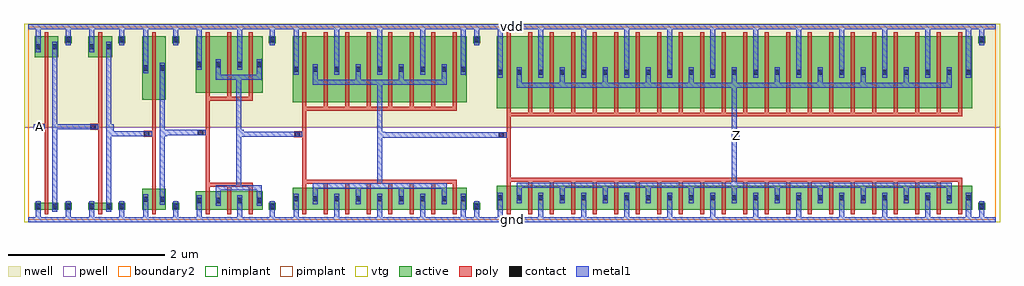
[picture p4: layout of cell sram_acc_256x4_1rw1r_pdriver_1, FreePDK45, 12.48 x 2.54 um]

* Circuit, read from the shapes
.subckt sram_acc_256x4_1rw1r_pdriver_1 A Z gnd vdd
M1 sram_acc_256x4_1rw1r_pinv_1_1/A A gnd gnd nfet w=0.09u l=0.05u
M2 sram_acc_256x4_1rw1r_pinv_8_2/A sram_acc_256x4_1rw1r_pinv_1_1/A gnd gnd nfet w=0.09u l=0.05u
M3 sram_acc_256x4_1rw1r_pinv_9_3/A sram_acc_256x4_1rw1r_pinv_8_2/A gnd gnd nfet w=0.27u l=0.05u
M4 sram_acc_256x4_1rw1r_pinv_10_4/A sram_acc_256x4_1rw1r_pinv_9_3/A gnd gnd nfet w=0.24u l=0.05u m=3
M5 sram_acc_256x4_1rw1r_pinv_11_5/A sram_acc_256x4_1rw1r_pinv_10_4/A gnd gnd nfet w=0.28u l=0.05u m=8
M6 Z sram_acc_256x4_1rw1r_pinv_11_5/A gnd gnd nfet w=0.3075u l=0.05u m=22
M7 sram_acc_256x4_1rw1r_pinv_1_1/A A vdd vdd pfet w=0.27u l=0.05u
M8 sram_acc_256x4_1rw1r_pinv_8_2/A sram_acc_256x4_1rw1r_pinv_1_1/A vdd vdd pfet w=0.27u l=0.05u
M9 sram_acc_256x4_1rw1r_pinv_9_3/A sram_acc_256x4_1rw1r_pinv_8_2/A vdd vdd pfet w=0.81u l=0.05u
M10 sram_acc_256x4_1rw1r_pinv_10_4/A sram_acc_256x4_1rw1r_pinv_9_3/A vdd vdd pfet w=0.72u l=0.05u m=3
M11 sram_acc_256x4_1rw1r_pinv_11_5/A sram_acc_256x4_1rw1r_pinv_10_4/A vdd vdd pfet w=0.845u l=0.05u m=8
M12 Z sram_acc_256x4_1rw1r_pinv_11_5/A vdd vdd pfet w=0.92u l=0.05u m=22
.ends

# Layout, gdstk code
import gdstk
lib = gdstk.Library(unit=1e-6, precision=5e-10)
def R(c, l, rs):  # rectangles x0, y0, x1, y1
    for r in rs: c.add(gdstk.rectangle(r[:2], r[2:], *l))
def A(c, l, x, y, w, h, nx, ny, dx, dy):  # array of equal rectangles
    R(c, l, [(x+i*dx, y+j*dy, x+i*dx+w, y+j*dy+h) for i in range(nx) for j in range(ny)])
active = (1, 0)
pwell = (2, 0)
nwell = (3, 0)
nimplant = (4, 0)
pimplant = (5, 0)
vtg = (6, 0)
poly = (9, 0)
contact = (10, 0)
metal1 = (11, 0)
boundary2 = (239, 0)

sram_acc_256x4_1rw1r_con = lib.new_cell('sram_acc_256x4_1rw1r_contact_11')
R(sram_acc_256x4_1rw1r_con, active, [(0,0.0225,0.09,0.1125)])
R(sram_acc_256x4_1rw1r_con, nwell, [(-0.055,-0.0325,0.145,0.1675)])
R(sram_acc_256x4_1rw1r_con, pimplant, [(0,0.0225,0.09,0.1125)])
R(sram_acc_256x4_1rw1r_con, contact, [(0.0125,0.035,0.0775,0.1)])
R(sram_acc_256x4_1rw1r_con, metal1, [(0.0125,0,0.0775,0.135)])
R(sram_acc_256x4_1rw1r_con, boundary2, [(-0.055,-0.0325,0.145,0.1675)])

sram_acc_256x4_1rw1r_pmo = lib.new_cell('sram_acc_256x4_1rw1r_pmos_m1_w0_270_sm1_dm1_da_p')
R(sram_acc_256x4_1rw1r_pmo, active, [(0,0,0.305,0.27)])
R(sram_acc_256x4_1rw1r_pmo, nwell, [(-0.08,-0.08,0.385,0.35)])
R(sram_acc_256x4_1rw1r_pmo, pimplant, [(0,0,0.305,0.27)])
R(sram_acc_256x4_1rw1r_pmo, vtg, [(-0.08,-0.08,0.385,0.35)])
R(sram_acc_256x4_1rw1r_pmo, poly, [(0.1275,-0.055,0.1775,0.325), (0.1275,-0.055,0.1775,0.325)])
R(sram_acc_256x4_1rw1r_pmo, metal1, [(0.0125,0.0675,0.0775,0.2025), (0.2275,0.0675,0.2925,0.2025)])
R(sram_acc_256x4_1rw1r_pmo, boundary2, [(-0.08,-0.08,0.385,0.35)])
sram_acc_256x4_1rw1r_pmo.add(gdstk.Reference(sram_acc_256x4_1rw1r_con, (0,0.0675)))
sram_acc_256x4_1rw1r_pmo.add(gdstk.Reference(sram_acc_256x4_1rw1r_con, (0.215,0.0675)))
sram_acc_256x4_1rw1r_pmo.add(gdstk.Label('G', (0.1525,0.135), layer=9, texttype=0))
sram_acc_256x4_1rw1r_pmo.add(gdstk.Label('S', (0.045,0.135), layer=11, texttype=0))
sram_acc_256x4_1rw1r_pmo.add(gdstk.Label('D', (0.26,0.135), layer=11, texttype=0))

c_sram_acc_256x4_1rw1r_con = lib.new_cell('sram_acc_256x4_1rw1r_contact_10')
R(c_sram_acc_256x4_1rw1r_con, active, [(0,0.0225,0.09,0.1125)])
R(c_sram_acc_256x4_1rw1r_con, pwell, [(-0.055,-0.0325,0.145,0.1675)])
R(c_sram_acc_256x4_1rw1r_con, nimplant, [(0,0.0225,0.09,0.1125)])
R(c_sram_acc_256x4_1rw1r_con, contact, [(0.0125,0.035,0.0775,0.1)])
R(c_sram_acc_256x4_1rw1r_con, metal1, [(0.0125,0,0.0775,0.135)])
R(c_sram_acc_256x4_1rw1r_con, boundary2, [(-0.055,-0.0325,0.145,0.1675)])

sram_acc_256x4_1rw1r_nmo = lib.new_cell('sram_acc_256x4_1rw1r_nmos_m1_w0_090_sm1_dm1_da_p')
R(sram_acc_256x4_1rw1r_nmo, active, [(0,0,0.305,0.09)])
R(sram_acc_256x4_1rw1r_nmo, pwell, [(-0.08,-0.08,0.385,0.17)])
R(sram_acc_256x4_1rw1r_nmo, nimplant, [(0,0,0.305,0.09)])
R(sram_acc_256x4_1rw1r_nmo, vtg, [(-0.08,-0.08,0.385,0.17)])
R(sram_acc_256x4_1rw1r_nmo, poly, [(0.1275,-0.055,0.1775,0.145), (0.1275,-0.055,0.1775,0.145)])
R(sram_acc_256x4_1rw1r_nmo, metal1, [(0.0125,-0.0225,0.0775,0.1125), (0.2275,-0.0225,0.2925,0.1125)])
R(sram_acc_256x4_1rw1r_nmo, boundary2, [(-0.08,-0.08,0.385,0.17)])
sram_acc_256x4_1rw1r_nmo.add(gdstk.Reference(c_sram_acc_256x4_1rw1r_con, (0,-0.0225)))
sram_acc_256x4_1rw1r_nmo.add(gdstk.Reference(c_sram_acc_256x4_1rw1r_con, (0.215,-0.0225)))
sram_acc_256x4_1rw1r_nmo.add(gdstk.Label('G', (0.1525,0.045), layer=9, texttype=0))
sram_acc_256x4_1rw1r_nmo.add(gdstk.Label('S', (0.045,0.045), layer=11, texttype=0))
sram_acc_256x4_1rw1r_nmo.add(gdstk.Label('D', (0.26,0.045), layer=11, texttype=0))

c_sram_acc_256x4_1rw1r_con_ = lib.new_cell('sram_acc_256x4_1rw1r_contact_12')
R(c_sram_acc_256x4_1rw1r_con_, active, [(0,0.0225,0.09,0.1125)])
R(c_sram_acc_256x4_1rw1r_con_, nwell, [(-0.055,-0.0325,0.145,0.1675)])
R(c_sram_acc_256x4_1rw1r_con_, nimplant, [(0,0.0225,0.09,0.1125)])
R(c_sram_acc_256x4_1rw1r_con_, contact, [(0.0125,0.035,0.0775,0.1)])
R(c_sram_acc_256x4_1rw1r_con_, metal1, [(0.0125,0,0.0775,0.135)])
R(c_sram_acc_256x4_1rw1r_con_, boundary2, [(-0.055,-0.0325,0.145,0.1675)])

c_sram_acc_256x4_1rw1r_con__ = lib.new_cell('sram_acc_256x4_1rw1r_contact_13')
R(c_sram_acc_256x4_1rw1r_con__, active, [(0,0.0225,0.09,0.1125)])
R(c_sram_acc_256x4_1rw1r_con__, pwell, [(-0.055,-0.0325,0.145,0.1675)])
R(c_sram_acc_256x4_1rw1r_con__, pimplant, [(0,0.0225,0.09,0.1125)])
R(c_sram_acc_256x4_1rw1r_con__, contact, [(0.0125,0.035,0.0775,0.1)])
R(c_sram_acc_256x4_1rw1r_con__, metal1, [(0.0125,0,0.0775,0.135)])
R(c_sram_acc_256x4_1rw1r_con__, boundary2, [(-0.055,-0.0325,0.145,0.1675)])

c_sram_acc_256x4_1rw1r_con___ = lib.new_cell('sram_acc_256x4_1rw1r_contact_14')
R(c_sram_acc_256x4_1rw1r_con___, poly, [(0.03,0,0.105,0.075)])
R(c_sram_acc_256x4_1rw1r_con___, contact, [(0.035,0.005,0.1,0.07)])
R(c_sram_acc_256x4_1rw1r_con___, metal1, [(0,0.005,0.135,0.07)])
R(c_sram_acc_256x4_1rw1r_con___, boundary2, [(0,0,0.135,0.075)])

sram_acc_256x4_1rw1r_pin = lib.new_cell('sram_acc_256x4_1rw1r_pinv_1')
R(sram_acc_256x4_1rw1r_pin, pwell, [(-0.055,-0.0325,0.7425,1.185)])
R(sram_acc_256x4_1rw1r_pin, nwell, [(-0.055,1.185,0.7425,2.505)])
R(sram_acc_256x4_1rw1r_pin, vtg, [(-0.055,-0.0325,0.7425,1.185), (-0.055,1.185,0.7425,2.505)])
R(sram_acc_256x4_1rw1r_pin, poly, [(0.2075,0.27,0.2575,2.02), (0.14,1.1525,0.2075,1.2275)])
R(sram_acc_256x4_1rw1r_pin, metal1, [(0,-0.0325,0.6875,0.0325), (0.0925,-0.0325,0.1575,0.1025), (0.4775,0,0.5425,0.17), (0.3075,0.1025,0.3725,2.2775), (0.0725,1.1575,0.2075,1.2225), (0.34,1.1575,0.405,1.2225), (0.0925,2.1425,0.1575,2.5025), (0.4775,2.3,0.5425,2.47), (0,2.4375,0.6875,2.5025)])
R(sram_acc_256x4_1rw1r_pin, boundary2, [(0,0,0.6875,2.47), (0,0,0.6875,2.47)])
sram_acc_256x4_1rw1r_pin.add(gdstk.Reference(sram_acc_256x4_1rw1r_pmo, (0.08,2.075)))
sram_acc_256x4_1rw1r_pin.add(gdstk.Reference(sram_acc_256x4_1rw1r_nmo, (0.08,0.125)))
sram_acc_256x4_1rw1r_pin.add(gdstk.Reference(c_sram_acc_256x4_1rw1r_con_, (0.465,2.2325)))
sram_acc_256x4_1rw1r_pin.add(gdstk.Reference(c_sram_acc_256x4_1rw1r_con__, (0.465,0.1025)))
sram_acc_256x4_1rw1r_pin.add(gdstk.Reference(c_sram_acc_256x4_1rw1r_con___, (0.0725,1.1525)))
sram_acc_256x4_1rw1r_pin.add(gdstk.Label('A', (0.14,1.19), layer=11, texttype=0))
sram_acc_256x4_1rw1r_pin.add(gdstk.Label('Z', (0.3725,1.19), layer=11, texttype=0))
sram_acc_256x4_1rw1r_pin.add(gdstk.Label('gnd', (0.344,0), layer=11, texttype=0))
sram_acc_256x4_1rw1r_pin.add(gdstk.Label('vdd', (0.344,2.47), layer=11, texttype=0))

c_sram_acc_256x4_1rw1r_pmo = lib.new_cell('sram_acc_256x4_1rw1r_pmos_m1_w0_810_sm1_dm1_da_p')
R(c_sram_acc_256x4_1rw1r_pmo, active, [(0,0,0.305,0.81)])
R(c_sram_acc_256x4_1rw1r_pmo, nwell, [(-0.08,-0.08,0.385,0.89)])
R(c_sram_acc_256x4_1rw1r_pmo, pimplant, [(0,0,0.305,0.81)])
R(c_sram_acc_256x4_1rw1r_pmo, vtg, [(-0.08,-0.08,0.385,0.89)])
R(c_sram_acc_256x4_1rw1r_pmo, poly, [(0.1275,-0.055,0.1775,0.865), (0.1275,-0.055,0.1775,0.865)])
R(c_sram_acc_256x4_1rw1r_pmo, metal1, [(0.0125,0.3375,0.0775,0.4725), (0.2275,0.3375,0.2925,0.4725)])
R(c_sram_acc_256x4_1rw1r_pmo, boundary2, [(-0.08,-0.08,0.385,0.89)])
c_sram_acc_256x4_1rw1r_pmo.add(gdstk.Reference(sram_acc_256x4_1rw1r_con, (0,0.3375)))
c_sram_acc_256x4_1rw1r_pmo.add(gdstk.Reference(sram_acc_256x4_1rw1r_con, (0.215,0.3375)))
c_sram_acc_256x4_1rw1r_pmo.add(gdstk.Label('G', (0.1525,0.405), layer=9, texttype=0))
c_sram_acc_256x4_1rw1r_pmo.add(gdstk.Label('S', (0.045,0.405), layer=11, texttype=0))
c_sram_acc_256x4_1rw1r_pmo.add(gdstk.Label('D', (0.26,0.405), layer=11, texttype=0))

c_sram_acc_256x4_1rw1r_nmo = lib.new_cell('sram_acc_256x4_1rw1r_nmos_m1_w0_270_sm1_dm1_da_p')
R(c_sram_acc_256x4_1rw1r_nmo, active, [(0,0,0.305,0.27)])
R(c_sram_acc_256x4_1rw1r_nmo, pwell, [(-0.08,-0.08,0.385,0.35)])
R(c_sram_acc_256x4_1rw1r_nmo, nimplant, [(0,0,0.305,0.27)])
R(c_sram_acc_256x4_1rw1r_nmo, vtg, [(-0.08,-0.08,0.385,0.35)])
R(c_sram_acc_256x4_1rw1r_nmo, poly, [(0.1275,-0.055,0.1775,0.325), (0.1275,-0.055,0.1775,0.325)])
R(c_sram_acc_256x4_1rw1r_nmo, metal1, [(0.0125,0.0675,0.0775,0.2025), (0.2275,0.0675,0.2925,0.2025)])
R(c_sram_acc_256x4_1rw1r_nmo, boundary2, [(-0.08,-0.08,0.385,0.35)])
c_sram_acc_256x4_1rw1r_nmo.add(gdstk.Reference(c_sram_acc_256x4_1rw1r_con, (0,0.0675)))
c_sram_acc_256x4_1rw1r_nmo.add(gdstk.Reference(c_sram_acc_256x4_1rw1r_con, (0.215,0.0675)))
c_sram_acc_256x4_1rw1r_nmo.add(gdstk.Label('G', (0.1525,0.135), layer=9, texttype=0))
c_sram_acc_256x4_1rw1r_nmo.add(gdstk.Label('S', (0.045,0.135), layer=11, texttype=0))
c_sram_acc_256x4_1rw1r_nmo.add(gdstk.Label('D', (0.26,0.135), layer=11, texttype=0))

c_sram_acc_256x4_1rw1r_pin = lib.new_cell('sram_acc_256x4_1rw1r_pinv_8')
R(c_sram_acc_256x4_1rw1r_pin, pwell, [(-0.055,-0.0325,0.7425,1.185)])
R(c_sram_acc_256x4_1rw1r_pin, nwell, [(-0.055,1.185,0.7425,2.505)])
R(c_sram_acc_256x4_1rw1r_pin, vtg, [(-0.055,-0.0325,0.7425,1.185), (-0.055,1.185,0.7425,2.505)])
R(c_sram_acc_256x4_1rw1r_pin, poly, [(0.2075,0.45,0.2575,1.48), (0.14,1.0625,0.2075,1.1375)])
R(c_sram_acc_256x4_1rw1r_pin, metal1, [(0,-0.0325,0.6875,0.0325), (0.0925,-0.0325,0.1575,0.1925), (0.4775,0,0.5425,0.17), (0.3075,0.1925,0.3725,2.0075), (0.0725,1.0675,0.2075,1.1325), (0.34,1.0675,0.405,1.1325), (0.0925,1.8725,0.1575,2.5025), (0.4775,2.3,0.5425,2.47), (0,2.4375,0.6875,2.5025)])
R(c_sram_acc_256x4_1rw1r_pin, boundary2, [(0,0,0.6875,2.47), (0,0,0.6875,2.47)])
c_sram_acc_256x4_1rw1r_pin.add(gdstk.Reference(c_sram_acc_256x4_1rw1r_pmo, (0.08,1.535)))
c_sram_acc_256x4_1rw1r_pin.add(gdstk.Reference(c_sram_acc_256x4_1rw1r_nmo, (0.08,0.125)))
c_sram_acc_256x4_1rw1r_pin.add(gdstk.Reference(c_sram_acc_256x4_1rw1r_con_, (0.465,2.2325)))
c_sram_acc_256x4_1rw1r_pin.add(gdstk.Reference(c_sram_acc_256x4_1rw1r_con__, (0.465,0.1025)))
c_sram_acc_256x4_1rw1r_pin.add(gdstk.Reference(c_sram_acc_256x4_1rw1r_con___, (0.0725,1.0625)))
c_sram_acc_256x4_1rw1r_pin.add(gdstk.Label('A', (0.14,1.1), layer=11, texttype=0))
c_sram_acc_256x4_1rw1r_pin.add(gdstk.Label('Z', (0.3725,1.1), layer=11, texttype=0))
c_sram_acc_256x4_1rw1r_pin.add(gdstk.Label('gnd', (0.344,0), layer=11, texttype=0))
c_sram_acc_256x4_1rw1r_pin.add(gdstk.Label('vdd', (0.344,2.47), layer=11, texttype=0))

c_sram_acc_256x4_1rw1r_pmo_ = lib.new_cell('sram_acc_256x4_1rw1r_pmos_m3_w0_720_sm1_dm1_da_p')
R(c_sram_acc_256x4_1rw1r_pmo_, active, [(0,0,0.855,0.72)])
R(c_sram_acc_256x4_1rw1r_pmo_, nwell, [(-0.08,-0.08,0.935,0.8)])
R(c_sram_acc_256x4_1rw1r_pmo_, pimplant, [(0,0,0.855,0.72)])
R(c_sram_acc_256x4_1rw1r_pmo_, vtg, [(-0.08,-0.08,0.935,0.8)])
A(c_sram_acc_256x4_1rw1r_pmo_, poly, 0.1275, -0.055, 0.05, 0.83, 3, 1, 0.275, 0)
R(c_sram_acc_256x4_1rw1r_pmo_, poly, [(0.1275,-0.105,0.7275,-0.055)])
R(c_sram_acc_256x4_1rw1r_pmo_, metal1, [(0.2575,0.1625,0.8425,0.2275), (0.2575,0.195,0.3225,0.36), (0.7775,0.195,0.8425,0.36), (0.0125,0.2925,0.0775,0.4275), (0.5325,0.2925,0.5975,0.4275)])
R(c_sram_acc_256x4_1rw1r_pmo_, boundary2, [(-0.08,-0.105,0.935,0.8)])
c_sram_acc_256x4_1rw1r_pmo_.add(gdstk.Reference(sram_acc_256x4_1rw1r_con, (0,0.2925)))
c_sram_acc_256x4_1rw1r_pmo_.add(gdstk.Reference(sram_acc_256x4_1rw1r_con, (0.245,0.2925)))
c_sram_acc_256x4_1rw1r_pmo_.add(gdstk.Reference(sram_acc_256x4_1rw1r_con, (0.52,0.2925)))
c_sram_acc_256x4_1rw1r_pmo_.add(gdstk.Reference(sram_acc_256x4_1rw1r_con, (0.765,0.2925)))
c_sram_acc_256x4_1rw1r_pmo_.add(gdstk.Label('G', (0.4275,-0.08), layer=9, texttype=0))
c_sram_acc_256x4_1rw1r_pmo_.add(gdstk.Label('S', (0.045,0.36), layer=11, texttype=0))
c_sram_acc_256x4_1rw1r_pmo_.add(gdstk.Label('S', (0.565,0.36), layer=11, texttype=0))
c_sram_acc_256x4_1rw1r_pmo_.add(gdstk.Label('D', (0.55,0.195), layer=11, texttype=0))

c_sram_acc_256x4_1rw1r_nmo_ = lib.new_cell('sram_acc_256x4_1rw1r_nmos_m3_w0_240_sm1_dm1_da_p')
R(c_sram_acc_256x4_1rw1r_nmo_, active, [(0,0,0.855,0.24)])
R(c_sram_acc_256x4_1rw1r_nmo_, pwell, [(-0.08,-0.08,0.935,0.32)])
R(c_sram_acc_256x4_1rw1r_nmo_, nimplant, [(0,0,0.855,0.24)])
R(c_sram_acc_256x4_1rw1r_nmo_, vtg, [(-0.08,-0.08,0.935,0.32)])
A(c_sram_acc_256x4_1rw1r_nmo_, poly, 0.1275, -0.055, 0.05, 0.35, 3, 1, 0.275, 0)
R(c_sram_acc_256x4_1rw1r_nmo_, poly, [(0.1275,0.295,0.7275,0.345)])
R(c_sram_acc_256x4_1rw1r_nmo_, metal1, [(0.0125,0.0525,0.0775,0.1875), (0.5325,0.0525,0.5975,0.1875), (0.2575,0.12,0.3225,0.285), (0.7775,0.12,0.8425,0.285), (0.2575,0.2525,0.8425,0.3175)])
R(c_sram_acc_256x4_1rw1r_nmo_, boundary2, [(-0.08,-0.08,0.935,0.345)])
c_sram_acc_256x4_1rw1r_nmo_.add(gdstk.Reference(c_sram_acc_256x4_1rw1r_con, (0,0.0525)))
c_sram_acc_256x4_1rw1r_nmo_.add(gdstk.Reference(c_sram_acc_256x4_1rw1r_con, (0.245,0.0525)))
c_sram_acc_256x4_1rw1r_nmo_.add(gdstk.Reference(c_sram_acc_256x4_1rw1r_con, (0.52,0.0525)))
c_sram_acc_256x4_1rw1r_nmo_.add(gdstk.Reference(c_sram_acc_256x4_1rw1r_con, (0.765,0.0525)))
c_sram_acc_256x4_1rw1r_nmo_.add(gdstk.Label('G', (0.4275,0.32), layer=9, texttype=0))
c_sram_acc_256x4_1rw1r_nmo_.add(gdstk.Label('S', (0.565,0.12), layer=11, texttype=0))
c_sram_acc_256x4_1rw1r_nmo_.add(gdstk.Label('S', (0.045,0.12), layer=11, texttype=0))
c_sram_acc_256x4_1rw1r_nmo_.add(gdstk.Label('D', (0.55,0.285), layer=11, texttype=0))

c_sram_acc_256x4_1rw1r_pin_ = lib.new_cell('sram_acc_256x4_1rw1r_pinv_9')
R(c_sram_acc_256x4_1rw1r_pin_, pwell, [(-0.055,-0.0325,1.2925,1.185)])
R(c_sram_acc_256x4_1rw1r_pin_, nwell, [(-0.055,1.185,1.2925,2.505)])
R(c_sram_acc_256x4_1rw1r_pin_, vtg, [(-0.055,-0.0325,1.2925,1.185), (-0.055,1.185,1.2925,2.505)])
R(c_sram_acc_256x4_1rw1r_pin_, poly, [(0.2075,0.47,0.2575,1.52), (0.14,1.0775,0.2075,1.1525)])
R(c_sram_acc_256x4_1rw1r_pin_, metal1, [(0,-0.0325,1.2375,0.0325), (0.0925,-0.0325,0.1575,0.1775), (0.6125,-0.0325,0.6775,0.1775), (1.0275,0,1.0925,0.17), (0.5975,0.3775,0.6625,1.8525), (0.0725,1.0825,0.2075,1.1475), (0.63,1.0825,0.695,1.1475), (0.0925,1.9175,0.1575,2.5025), (0.6125,1.9175,0.6775,2.5025), (1.0275,2.3,1.0925,2.47), (0,2.4375,1.2375,2.5025)])
R(c_sram_acc_256x4_1rw1r_pin_, boundary2, [(0,0,1.2375,2.47), (0,0,1.2375,2.47)])
c_sram_acc_256x4_1rw1r_pin_.add(gdstk.Reference(c_sram_acc_256x4_1rw1r_pmo_, (0.08,1.625)))
c_sram_acc_256x4_1rw1r_pin_.add(gdstk.Reference(c_sram_acc_256x4_1rw1r_nmo_, (0.08,0.125)))
c_sram_acc_256x4_1rw1r_pin_.add(gdstk.Reference(c_sram_acc_256x4_1rw1r_con_, (1.015,2.2325)))
c_sram_acc_256x4_1rw1r_pin_.add(gdstk.Reference(c_sram_acc_256x4_1rw1r_con__, (1.015,0.1025)))
c_sram_acc_256x4_1rw1r_pin_.add(gdstk.Reference(c_sram_acc_256x4_1rw1r_con___, (0.0725,1.0775)))
c_sram_acc_256x4_1rw1r_pin_.add(gdstk.Label('A', (0.14,1.115), layer=11, texttype=0))
c_sram_acc_256x4_1rw1r_pin_.add(gdstk.Label('Z', (0.6625,1.115), layer=11, texttype=0))
c_sram_acc_256x4_1rw1r_pin_.add(gdstk.Label('gnd', (0.619,0), layer=11, texttype=0))
c_sram_acc_256x4_1rw1r_pin_.add(gdstk.Label('vdd', (0.619,2.47), layer=11, texttype=0))

c_sram_acc_256x4_1rw1r_pmo__ = lib.new_cell('sram_acc_256x4_1rw1r_pmos_m8_w0_845_sm1_dm1_da_p')
R(c_sram_acc_256x4_1rw1r_pmo__, active, [(0,0,2.23,0.845)])
R(c_sram_acc_256x4_1rw1r_pmo__, nwell, [(-0.08,-0.08,2.31,0.925)])
R(c_sram_acc_256x4_1rw1r_pmo__, pimplant, [(0,0,2.23,0.845)])
R(c_sram_acc_256x4_1rw1r_pmo__, vtg, [(-0.08,-0.08,2.31,0.925)])
A(c_sram_acc_256x4_1rw1r_pmo__, poly, 0.1275, -0.055, 0.05, 0.955, 8, 1, 0.275, 0)
R(c_sram_acc_256x4_1rw1r_pmo__, poly, [(0.1275,-0.105,2.1025,-0.055)])
A(c_sram_acc_256x4_1rw1r_pmo__, metal1, 0.2575, 0.2575, 0.065, 0.165, 4, 1, 0.55, 0)
A(c_sram_acc_256x4_1rw1r_pmo__, metal1, 0.5325, 0.355, 0.065, 0.135, 3, 1, 0.55, 0)
R(c_sram_acc_256x4_1rw1r_pmo__, metal1, [(0.2575,0.225,1.9725,0.29), (0.0125,0.355,0.0775,0.49), (2.1525,0.355,2.2175,0.49)])
R(c_sram_acc_256x4_1rw1r_pmo__, boundary2, [(-0.08,-0.105,2.31,0.925)])
c_sram_acc_256x4_1rw1r_pmo__.add(gdstk.Reference(sram_acc_256x4_1rw1r_con, (0,0.355)))
c_sram_acc_256x4_1rw1r_pmo__.add(gdstk.Reference(sram_acc_256x4_1rw1r_con, (0.245,0.355)))
c_sram_acc_256x4_1rw1r_pmo__.add(gdstk.Reference(sram_acc_256x4_1rw1r_con, (0.52,0.355)))
c_sram_acc_256x4_1rw1r_pmo__.add(gdstk.Reference(sram_acc_256x4_1rw1r_con, (0.795,0.355)))
c_sram_acc_256x4_1rw1r_pmo__.add(gdstk.Reference(sram_acc_256x4_1rw1r_con, (1.07,0.355)))
c_sram_acc_256x4_1rw1r_pmo__.add(gdstk.Reference(sram_acc_256x4_1rw1r_con, (1.345,0.355)))
c_sram_acc_256x4_1rw1r_pmo__.add(gdstk.Reference(sram_acc_256x4_1rw1r_con, (1.62,0.355)))
c_sram_acc_256x4_1rw1r_pmo__.add(gdstk.Reference(sram_acc_256x4_1rw1r_con, (1.895,0.355)))
c_sram_acc_256x4_1rw1r_pmo__.add(gdstk.Reference(sram_acc_256x4_1rw1r_con, (2.14,0.355)))
c_sram_acc_256x4_1rw1r_pmo__.add(gdstk.Label('G', (1.115,-0.08), layer=9, texttype=0))
c_sram_acc_256x4_1rw1r_pmo__.add(gdstk.Label('S', (1.115,0.4225), layer=11, texttype=0))
c_sram_acc_256x4_1rw1r_pmo__.add(gdstk.Label('S', (0.565,0.4225), layer=11, texttype=0))
c_sram_acc_256x4_1rw1r_pmo__.add(gdstk.Label('S', (0.045,0.4225), layer=11, texttype=0))
c_sram_acc_256x4_1rw1r_pmo__.add(gdstk.Label('S', (2.185,0.4225), layer=11, texttype=0))
c_sram_acc_256x4_1rw1r_pmo__.add(gdstk.Label('S', (1.665,0.4225), layer=11, texttype=0))
c_sram_acc_256x4_1rw1r_pmo__.add(gdstk.Label('D', (1.115,0.2575), layer=11, texttype=0))

c_sram_acc_256x4_1rw1r_nmo__ = lib.new_cell('sram_acc_256x4_1rw1r_nmos_m8_w0_280_sm1_dm1_da_p')
R(c_sram_acc_256x4_1rw1r_nmo__, active, [(0,0,2.23,0.28)])
R(c_sram_acc_256x4_1rw1r_nmo__, pwell, [(-0.08,-0.08,2.31,0.36)])
R(c_sram_acc_256x4_1rw1r_nmo__, nimplant, [(0,0,2.23,0.28)])
R(c_sram_acc_256x4_1rw1r_nmo__, vtg, [(-0.08,-0.08,2.31,0.36)])
A(c_sram_acc_256x4_1rw1r_nmo__, poly, 0.1275, -0.055, 0.05, 0.39, 8, 1, 0.275, 0)
R(c_sram_acc_256x4_1rw1r_nmo__, poly, [(0.1275,0.335,2.1025,0.385)])
A(c_sram_acc_256x4_1rw1r_nmo__, metal1, 0.5325, 0.0725, 0.065, 0.135, 3, 1, 0.55, 0)
A(c_sram_acc_256x4_1rw1r_nmo__, metal1, 0.2575, 0.14, 0.065, 0.165, 4, 1, 0.55, 0)
R(c_sram_acc_256x4_1rw1r_nmo__, metal1, [(0.0125,0.0725,0.0775,0.2075), (2.1525,0.0725,2.2175,0.2075), (0.2575,0.2725,1.9725,0.3375)])
R(c_sram_acc_256x4_1rw1r_nmo__, boundary2, [(-0.08,-0.08,2.31,0.385)])
c_sram_acc_256x4_1rw1r_nmo__.add(gdstk.Reference(c_sram_acc_256x4_1rw1r_con, (0,0.0725)))
c_sram_acc_256x4_1rw1r_nmo__.add(gdstk.Reference(c_sram_acc_256x4_1rw1r_con, (0.245,0.0725)))
c_sram_acc_256x4_1rw1r_nmo__.add(gdstk.Reference(c_sram_acc_256x4_1rw1r_con, (0.52,0.0725)))
c_sram_acc_256x4_1rw1r_nmo__.add(gdstk.Reference(c_sram_acc_256x4_1rw1r_con, (0.795,0.0725)))
c_sram_acc_256x4_1rw1r_nmo__.add(gdstk.Reference(c_sram_acc_256x4_1rw1r_con, (1.07,0.0725)))
c_sram_acc_256x4_1rw1r_nmo__.add(gdstk.Reference(c_sram_acc_256x4_1rw1r_con, (1.345,0.0725)))
c_sram_acc_256x4_1rw1r_nmo__.add(gdstk.Reference(c_sram_acc_256x4_1rw1r_con, (1.62,0.0725)))
c_sram_acc_256x4_1rw1r_nmo__.add(gdstk.Reference(c_sram_acc_256x4_1rw1r_con, (1.895,0.0725)))
c_sram_acc_256x4_1rw1r_nmo__.add(gdstk.Reference(c_sram_acc_256x4_1rw1r_con, (2.14,0.0725)))
c_sram_acc_256x4_1rw1r_nmo__.add(gdstk.Label('G', (1.115,0.36), layer=9, texttype=0))
c_sram_acc_256x4_1rw1r_nmo__.add(gdstk.Label('S', (0.045,0.14), layer=11, texttype=0))
c_sram_acc_256x4_1rw1r_nmo__.add(gdstk.Label('S', (0.565,0.14), layer=11, texttype=0))
c_sram_acc_256x4_1rw1r_nmo__.add(gdstk.Label('S', (1.665,0.14), layer=11, texttype=0))
c_sram_acc_256x4_1rw1r_nmo__.add(gdstk.Label('S', (2.185,0.14), layer=11, texttype=0))
c_sram_acc_256x4_1rw1r_nmo__.add(gdstk.Label('S', (1.115,0.14), layer=11, texttype=0))
c_sram_acc_256x4_1rw1r_nmo__.add(gdstk.Label('D', (1.115,0.305), layer=11, texttype=0))

c_sram_acc_256x4_1rw1r_pin__ = lib.new_cell('sram_acc_256x4_1rw1r_pinv_10')
R(c_sram_acc_256x4_1rw1r_pin__, pwell, [(-0.055,-0.0325,2.6675,1.185)])
R(c_sram_acc_256x4_1rw1r_pin__, nwell, [(-0.055,1.185,2.6675,2.505)])
R(c_sram_acc_256x4_1rw1r_pin__, vtg, [(-0.055,-0.0325,2.6675,1.185), (-0.055,1.185,2.6675,2.505)])
R(c_sram_acc_256x4_1rw1r_pin__, poly, [(0.2075,0.51,0.2575,1.395), (0.14,1.055,0.2075,1.13)])
A(c_sram_acc_256x4_1rw1r_pin__, metal1, 0.6125, -0.0325, 0.065, 0.23, 3, 1, 0.55, 0)
A(c_sram_acc_256x4_1rw1r_pin__, metal1, 0.6125, 1.855, 0.065, 0.6475, 3, 1, 0.55, 0)
R(c_sram_acc_256x4_1rw1r_pin__, metal1, [(0,-0.0325,2.6125,0.0325), (0.0925,-0.0325,0.1575,0.1975), (2.2325,-0.0325,2.2975,0.1975), (2.4025,0,2.4675,0.17), (1.1625,0.3975,1.2275,1.79), (0.0725,1.06,0.2075,1.125), (1.195,1.06,1.26,1.125), (0.0925,1.855,0.1575,2.5025), (2.2325,1.855,2.2975,2.5025), (2.4025,2.3,2.4675,2.47), (0,2.4375,2.6125,2.5025)])
R(c_sram_acc_256x4_1rw1r_pin__, boundary2, [(0,0,2.6125,2.47), (0,0,2.6125,2.47)])
c_sram_acc_256x4_1rw1r_pin__.add(gdstk.Reference(c_sram_acc_256x4_1rw1r_pmo__, (0.08,1.5)))
c_sram_acc_256x4_1rw1r_pin__.add(gdstk.Reference(c_sram_acc_256x4_1rw1r_nmo__, (0.08,0.125)))
c_sram_acc_256x4_1rw1r_pin__.add(gdstk.Reference(c_sram_acc_256x4_1rw1r_con_, (2.39,2.2325)))
c_sram_acc_256x4_1rw1r_pin__.add(gdstk.Reference(c_sram_acc_256x4_1rw1r_con__, (2.39,0.1025)))
c_sram_acc_256x4_1rw1r_pin__.add(gdstk.Reference(c_sram_acc_256x4_1rw1r_con___, (0.0725,1.055)))
c_sram_acc_256x4_1rw1r_pin__.add(gdstk.Label('A', (0.14,1.0925), layer=11, texttype=0))
c_sram_acc_256x4_1rw1r_pin__.add(gdstk.Label('Z', (1.2275,1.0925), layer=11, texttype=0))
c_sram_acc_256x4_1rw1r_pin__.add(gdstk.Label('gnd', (1.3065,0), layer=11, texttype=0))
c_sram_acc_256x4_1rw1r_pin__.add(gdstk.Label('vdd', (1.3065,2.47), layer=11, texttype=0))

c_sram_acc_256x4_1rw1r_pmo___ = lib.new_cell('sram_acc_256x4_1rw1r_pmos_m22_w0_920_sm1_dm1_da_p')
R(c_sram_acc_256x4_1rw1r_pmo___, active, [(0,0,6.08,0.92)])
R(c_sram_acc_256x4_1rw1r_pmo___, nwell, [(-0.08,-0.08,6.16,1)])
R(c_sram_acc_256x4_1rw1r_pmo___, pimplant, [(0,0,6.08,0.92)])
R(c_sram_acc_256x4_1rw1r_pmo___, vtg, [(-0.08,-0.08,6.16,1)])
A(c_sram_acc_256x4_1rw1r_pmo___, poly, 0.1275, -0.055, 0.05, 1.03, 22, 1, 0.275, 0)
R(c_sram_acc_256x4_1rw1r_pmo___, poly, [(0.1275,-0.105,5.9525,-0.055)])
A(c_sram_acc_256x4_1rw1r_pmo___, metal1, 0.2575, 0.295, 0.065, 0.165, 11, 1, 0.55, 0)
A(c_sram_acc_256x4_1rw1r_pmo___, metal1, 0.5325, 0.3925, 0.065, 0.135, 10, 1, 0.55, 0)
R(c_sram_acc_256x4_1rw1r_pmo___, metal1, [(0.2575,0.2625,5.8225,0.3275), (0.0125,0.3925,0.0775,0.5275), (6.0025,0.3925,6.0675,0.5275)])
R(c_sram_acc_256x4_1rw1r_pmo___, boundary2, [(-0.08,-0.105,6.16,1)])
c_sram_acc_256x4_1rw1r_pmo___.add(gdstk.Reference(sram_acc_256x4_1rw1r_con, (0,0.3925)))
c_sram_acc_256x4_1rw1r_pmo___.add(gdstk.Reference(sram_acc_256x4_1rw1r_con, (0.245,0.3925)))
c_sram_acc_256x4_1rw1r_pmo___.add(gdstk.Reference(sram_acc_256x4_1rw1r_con, (0.52,0.3925)))
c_sram_acc_256x4_1rw1r_pmo___.add(gdstk.Reference(sram_acc_256x4_1rw1r_con, (0.795,0.3925)))
c_sram_acc_256x4_1rw1r_pmo___.add(gdstk.Reference(sram_acc_256x4_1rw1r_con, (1.07,0.3925)))
c_sram_acc_256x4_1rw1r_pmo___.add(gdstk.Reference(sram_acc_256x4_1rw1r_con, (1.345,0.3925)))
c_sram_acc_256x4_1rw1r_pmo___.add(gdstk.Reference(sram_acc_256x4_1rw1r_con, (1.62,0.3925)))
c_sram_acc_256x4_1rw1r_pmo___.add(gdstk.Reference(sram_acc_256x4_1rw1r_con, (1.895,0.3925)))
c_sram_acc_256x4_1rw1r_pmo___.add(gdstk.Reference(sram_acc_256x4_1rw1r_con, (2.17,0.3925)))
c_sram_acc_256x4_1rw1r_pmo___.add(gdstk.Reference(sram_acc_256x4_1rw1r_con, (2.445,0.3925)))
c_sram_acc_256x4_1rw1r_pmo___.add(gdstk.Reference(sram_acc_256x4_1rw1r_con, (2.72,0.3925)))
c_sram_acc_256x4_1rw1r_pmo___.add(gdstk.Reference(sram_acc_256x4_1rw1r_con, (2.995,0.3925)))
c_sram_acc_256x4_1rw1r_pmo___.add(gdstk.Reference(sram_acc_256x4_1rw1r_con, (3.27,0.3925)))
c_sram_acc_256x4_1rw1r_pmo___.add(gdstk.Reference(sram_acc_256x4_1rw1r_con, (3.545,0.3925)))
c_sram_acc_256x4_1rw1r_pmo___.add(gdstk.Reference(sram_acc_256x4_1rw1r_con, (3.82,0.3925)))
c_sram_acc_256x4_1rw1r_pmo___.add(gdstk.Reference(sram_acc_256x4_1rw1r_con, (4.095,0.3925)))
c_sram_acc_256x4_1rw1r_pmo___.add(gdstk.Reference(sram_acc_256x4_1rw1r_con, (4.37,0.3925)))
c_sram_acc_256x4_1rw1r_pmo___.add(gdstk.Reference(sram_acc_256x4_1rw1r_con, (4.645,0.3925)))
c_sram_acc_256x4_1rw1r_pmo___.add(gdstk.Reference(sram_acc_256x4_1rw1r_con, (4.92,0.3925)))
c_sram_acc_256x4_1rw1r_pmo___.add(gdstk.Reference(sram_acc_256x4_1rw1r_con, (5.195,0.3925)))
c_sram_acc_256x4_1rw1r_pmo___.add(gdstk.Reference(sram_acc_256x4_1rw1r_con, (5.47,0.3925)))
c_sram_acc_256x4_1rw1r_pmo___.add(gdstk.Reference(sram_acc_256x4_1rw1r_con, (5.745,0.3925)))
c_sram_acc_256x4_1rw1r_pmo___.add(gdstk.Reference(sram_acc_256x4_1rw1r_con, (5.99,0.3925)))
c_sram_acc_256x4_1rw1r_pmo___.add(gdstk.Label('G', (3.04,-0.08), layer=9, texttype=0))
c_sram_acc_256x4_1rw1r_pmo___.add(gdstk.Label('S', (0.045,0.46), layer=11, texttype=0))
c_sram_acc_256x4_1rw1r_pmo___.add(gdstk.Label('S', (2.765,0.46), layer=11, texttype=0))
c_sram_acc_256x4_1rw1r_pmo___.add(gdstk.Label('S', (3.315,0.46), layer=11, texttype=0))
c_sram_acc_256x4_1rw1r_pmo___.add(gdstk.Label('S', (1.665,0.46), layer=11, texttype=0))
c_sram_acc_256x4_1rw1r_pmo___.add(gdstk.Label('S', (3.865,0.46), layer=11, texttype=0))
c_sram_acc_256x4_1rw1r_pmo___.add(gdstk.Label('S', (0.565,0.46), layer=11, texttype=0))
c_sram_acc_256x4_1rw1r_pmo___.add(gdstk.Label('S', (4.415,0.46), layer=11, texttype=0))
c_sram_acc_256x4_1rw1r_pmo___.add(gdstk.Label('S', (4.965,0.46), layer=11, texttype=0))
c_sram_acc_256x4_1rw1r_pmo___.add(gdstk.Label('S', (1.115,0.46), layer=11, texttype=0))
c_sram_acc_256x4_1rw1r_pmo___.add(gdstk.Label('S', (6.035,0.46), layer=11, texttype=0))
c_sram_acc_256x4_1rw1r_pmo___.add(gdstk.Label('S', (2.215,0.46), layer=11, texttype=0))
c_sram_acc_256x4_1rw1r_pmo___.add(gdstk.Label('S', (5.515,0.46), layer=11, texttype=0))
c_sram_acc_256x4_1rw1r_pmo___.add(gdstk.Label('D', (3.04,0.295), layer=11, texttype=0))

c_sram_acc_256x4_1rw1r_nmo___ = lib.new_cell('sram_acc_256x4_1rw1r_nmos_m22_w0_307_sm1_dm1_da_p')
R(c_sram_acc_256x4_1rw1r_nmo___, active, [(0,0,6.08,0.3075)])
R(c_sram_acc_256x4_1rw1r_nmo___, pwell, [(-0.08,-0.08,6.16,0.3875)])
R(c_sram_acc_256x4_1rw1r_nmo___, nimplant, [(0,0,6.08,0.3075)])
R(c_sram_acc_256x4_1rw1r_nmo___, vtg, [(-0.08,-0.08,6.16,0.3875)])
A(c_sram_acc_256x4_1rw1r_nmo___, poly, 0.1275, -0.055, 0.05, 0.4175, 22, 1, 0.275, 0)
R(c_sram_acc_256x4_1rw1r_nmo___, poly, [(0.1275,0.3625,5.9525,0.4125)])
A(c_sram_acc_256x4_1rw1r_nmo___, metal1, 0.5325, 0.085, 0.065, 0.135, 10, 1, 0.55, 0)
A(c_sram_acc_256x4_1rw1r_nmo___, metal1, 0.2575, 0.155, 0.065, 0.165, 11, 1, 0.55, 0)
R(c_sram_acc_256x4_1rw1r_nmo___, metal1, [(0.0125,0.085,0.0775,0.22), (6.0025,0.085,6.0675,0.22), (0.2575,0.285,5.8225,0.35)])
R(c_sram_acc_256x4_1rw1r_nmo___, boundary2, [(-0.08,-0.08,6.16,0.4125)])
c_sram_acc_256x4_1rw1r_nmo___.add(gdstk.Reference(c_sram_acc_256x4_1rw1r_con, (0,0.085)))
c_sram_acc_256x4_1rw1r_nmo___.add(gdstk.Reference(c_sram_acc_256x4_1rw1r_con, (0.245,0.085)))
c_sram_acc_256x4_1rw1r_nmo___.add(gdstk.Reference(c_sram_acc_256x4_1rw1r_con, (0.52,0.085)))
c_sram_acc_256x4_1rw1r_nmo___.add(gdstk.Reference(c_sram_acc_256x4_1rw1r_con, (0.795,0.085)))
c_sram_acc_256x4_1rw1r_nmo___.add(gdstk.Reference(c_sram_acc_256x4_1rw1r_con, (1.07,0.085)))
c_sram_acc_256x4_1rw1r_nmo___.add(gdstk.Reference(c_sram_acc_256x4_1rw1r_con, (1.345,0.085)))
c_sram_acc_256x4_1rw1r_nmo___.add(gdstk.Reference(c_sram_acc_256x4_1rw1r_con, (1.62,0.085)))
c_sram_acc_256x4_1rw1r_nmo___.add(gdstk.Reference(c_sram_acc_256x4_1rw1r_con, (1.895,0.085)))
c_sram_acc_256x4_1rw1r_nmo___.add(gdstk.Reference(c_sram_acc_256x4_1rw1r_con, (2.17,0.085)))
c_sram_acc_256x4_1rw1r_nmo___.add(gdstk.Reference(c_sram_acc_256x4_1rw1r_con, (2.445,0.085)))
c_sram_acc_256x4_1rw1r_nmo___.add(gdstk.Reference(c_sram_acc_256x4_1rw1r_con, (2.72,0.085)))
c_sram_acc_256x4_1rw1r_nmo___.add(gdstk.Reference(c_sram_acc_256x4_1rw1r_con, (2.995,0.085)))
c_sram_acc_256x4_1rw1r_nmo___.add(gdstk.Reference(c_sram_acc_256x4_1rw1r_con, (3.27,0.085)))
c_sram_acc_256x4_1rw1r_nmo___.add(gdstk.Reference(c_sram_acc_256x4_1rw1r_con, (3.545,0.085)))
c_sram_acc_256x4_1rw1r_nmo___.add(gdstk.Reference(c_sram_acc_256x4_1rw1r_con, (3.82,0.085)))
c_sram_acc_256x4_1rw1r_nmo___.add(gdstk.Reference(c_sram_acc_256x4_1rw1r_con, (4.095,0.085)))
c_sram_acc_256x4_1rw1r_nmo___.add(gdstk.Reference(c_sram_acc_256x4_1rw1r_con, (4.37,0.085)))
c_sram_acc_256x4_1rw1r_nmo___.add(gdstk.Reference(c_sram_acc_256x4_1rw1r_con, (4.645,0.085)))
c_sram_acc_256x4_1rw1r_nmo___.add(gdstk.Reference(c_sram_acc_256x4_1rw1r_con, (4.92,0.085)))
c_sram_acc_256x4_1rw1r_nmo___.add(gdstk.Reference(c_sram_acc_256x4_1rw1r_con, (5.195,0.085)))
c_sram_acc_256x4_1rw1r_nmo___.add(gdstk.Reference(c_sram_acc_256x4_1rw1r_con, (5.47,0.085)))
c_sram_acc_256x4_1rw1r_nmo___.add(gdstk.Reference(c_sram_acc_256x4_1rw1r_con, (5.745,0.085)))
c_sram_acc_256x4_1rw1r_nmo___.add(gdstk.Reference(c_sram_acc_256x4_1rw1r_con, (5.99,0.085)))
c_sram_acc_256x4_1rw1r_nmo___.add(gdstk.Label('G', (3.04,0.3875), layer=9, texttype=0))
c_sram_acc_256x4_1rw1r_nmo___.add(gdstk.Label('S', (5.515,0.1525), layer=11, texttype=0))
c_sram_acc_256x4_1rw1r_nmo___.add(gdstk.Label('S', (1.115,0.1525), layer=11, texttype=0))
c_sram_acc_256x4_1rw1r_nmo___.add(gdstk.Label('S', (6.035,0.1525), layer=11, texttype=0))
c_sram_acc_256x4_1rw1r_nmo___.add(gdstk.Label('S', (2.765,0.1525), layer=11, texttype=0))
c_sram_acc_256x4_1rw1r_nmo___.add(gdstk.Label('S', (3.865,0.1525), layer=11, texttype=0))
c_sram_acc_256x4_1rw1r_nmo___.add(gdstk.Label('S', (2.215,0.1525), layer=11, texttype=0))
c_sram_acc_256x4_1rw1r_nmo___.add(gdstk.Label('S', (1.665,0.1525), layer=11, texttype=0))
c_sram_acc_256x4_1rw1r_nmo___.add(gdstk.Label('S', (0.565,0.1525), layer=11, texttype=0))
c_sram_acc_256x4_1rw1r_nmo___.add(gdstk.Label('S', (0.045,0.1525), layer=11, texttype=0))
c_sram_acc_256x4_1rw1r_nmo___.add(gdstk.Label('S', (3.315,0.1525), layer=11, texttype=0))
c_sram_acc_256x4_1rw1r_nmo___.add(gdstk.Label('S', (4.965,0.1525), layer=11, texttype=0))
c_sram_acc_256x4_1rw1r_nmo___.add(gdstk.Label('S', (4.415,0.1525), layer=11, texttype=0))
c_sram_acc_256x4_1rw1r_nmo___.add(gdstk.Label('D', (3.04,0.3175), layer=11, texttype=0))

c_sram_acc_256x4_1rw1r_pin___ = lib.new_cell('sram_acc_256x4_1rw1r_pinv_11')
R(c_sram_acc_256x4_1rw1r_pin___, pwell, [(-0.055,-0.0325,6.5175,1.185)])
R(c_sram_acc_256x4_1rw1r_pin___, nwell, [(-0.055,1.185,6.5175,2.505)])
R(c_sram_acc_256x4_1rw1r_pin___, vtg, [(-0.055,-0.0325,6.5175,1.185), (-0.055,1.185,6.5175,2.505)])
R(c_sram_acc_256x4_1rw1r_pin___, poly, [(0.2075,0.5375,0.2575,1.32), (0.14,1.045,0.2075,1.12)])
A(c_sram_acc_256x4_1rw1r_pin___, metal1, 0.6125, -0.0325, 0.065, 0.2425, 10, 1, 0.55, 0)
A(c_sram_acc_256x4_1rw1r_pin___, metal1, 0.6125, 1.8175, 0.065, 0.685, 10, 1, 0.55, 0)
R(c_sram_acc_256x4_1rw1r_pin___, metal1, [(0,-0.0325,6.4625,0.0325), (0.0925,-0.0325,0.1575,0.21), (6.0825,-0.0325,6.1475,0.21), (6.2525,0,6.3175,0.17), (3.0875,0.41,3.1525,1.7525), (0.0725,1.05,0.2075,1.115), (3.12,1.05,3.185,1.115), (0.0925,1.8175,0.1575,2.5025), (6.0825,1.8175,6.1475,2.5025), (6.2525,2.3,6.3175,2.47), (0,2.4375,6.4625,2.5025)])
R(c_sram_acc_256x4_1rw1r_pin___, boundary2, [(0,0,6.4625,2.47), (0,0,6.4625,2.47)])
c_sram_acc_256x4_1rw1r_pin___.add(gdstk.Reference(c_sram_acc_256x4_1rw1r_pmo___, (0.08,1.425)))
c_sram_acc_256x4_1rw1r_pin___.add(gdstk.Reference(c_sram_acc_256x4_1rw1r_nmo___, (0.08,0.125)))
c_sram_acc_256x4_1rw1r_pin___.add(gdstk.Reference(c_sram_acc_256x4_1rw1r_con_, (6.24,2.2325)))
c_sram_acc_256x4_1rw1r_pin___.add(gdstk.Reference(c_sram_acc_256x4_1rw1r_con__, (6.24,0.1025)))
c_sram_acc_256x4_1rw1r_pin___.add(gdstk.Reference(c_sram_acc_256x4_1rw1r_con___, (0.0725,1.045)))
c_sram_acc_256x4_1rw1r_pin___.add(gdstk.Label('A', (0.14,1.0825), layer=11, texttype=0))
c_sram_acc_256x4_1rw1r_pin___.add(gdstk.Label('Z', (3.1525,1.0825), layer=11, texttype=0))
c_sram_acc_256x4_1rw1r_pin___.add(gdstk.Label('gnd', (3.231,0), layer=11, texttype=0))
c_sram_acc_256x4_1rw1r_pin___.add(gdstk.Label('vdd', (3.231,2.47), layer=11, texttype=0))

sram_acc_256x4_1rw1r_pdr = lib.new_cell('sram_acc_256x4_1rw1r_pdriver_1')
R(sram_acc_256x4_1rw1r_pdr, pwell, [(-0.055,-0.0325,12.43,1.185)])
R(sram_acc_256x4_1rw1r_pdr, nwell, [(-0.055,1.185,12.43,2.505)])
R(sram_acc_256x4_1rw1r_pdr, vtg, [(-0.055,-0.0325,12.43,1.185), (-0.055,1.185,12.43,2.505)])
R(sram_acc_256x4_1rw1r_pdr, metal1, [(0,-0.0325,12.375,0.0325), (4.495,1.05,4.56,1.115), (4.5275,1.05,6.0525,1.115), (9.0325,1.05,9.0975,1.115), (2.6925,1.06,2.7575,1.125), (2.725,1.06,3.44,1.125), (1.0275,1.0675,1.0925,1.1325), (1.06,1.0675,1.515,1.1325), (1.715,1.0825,1.78,1.1475), (1.7475,1.0825,2.2025,1.1475), (4.495,1.0825,4.56,1.0925), (2.6925,1.0925,2.7575,1.115), (1.0275,1.1,1.0925,1.19), (1.715,1.1,1.78,1.115), (0.0725,1.1575,0.2075,1.2225), (0.3725,1.1575,0.8275,1.2225), (0,2.4375,12.375,2.5025)])
R(sram_acc_256x4_1rw1r_pdr, boundary2, [(0,0,12.375,2.47), (0,0,12.375,2.47)])
sram_acc_256x4_1rw1r_pdr.add(gdstk.Reference(sram_acc_256x4_1rw1r_pin, (0,0)))
sram_acc_256x4_1rw1r_pdr.add(gdstk.Reference(sram_acc_256x4_1rw1r_pin, (0.6875,0)))
sram_acc_256x4_1rw1r_pdr.add(gdstk.Reference(c_sram_acc_256x4_1rw1r_pin, (1.375,0)))
sram_acc_256x4_1rw1r_pdr.add(gdstk.Reference(c_sram_acc_256x4_1rw1r_pin_, (2.0625,0)))
sram_acc_256x4_1rw1r_pdr.add(gdstk.Reference(c_sram_acc_256x4_1rw1r_pin__, (3.3,0)))
sram_acc_256x4_1rw1r_pdr.add(gdstk.Reference(c_sram_acc_256x4_1rw1r_pin___, (5.9125,0)))
sram_acc_256x4_1rw1r_pdr.add(gdstk.Label('Z', (9.065,1.0825), layer=11, texttype=0))
sram_acc_256x4_1rw1r_pdr.add(gdstk.Label('A', (0.14,1.19), layer=11, texttype=0))
sram_acc_256x4_1rw1r_pdr.add(gdstk.Label('gnd', (6.1875,0), layer=11, texttype=0))
sram_acc_256x4_1rw1r_pdr.add(gdstk.Label('vdd', (6.1875,2.47), layer=11, texttype=0))

lib.write_gds('sram_acc_256x4_1rw1r_pdriver_1.gds')
